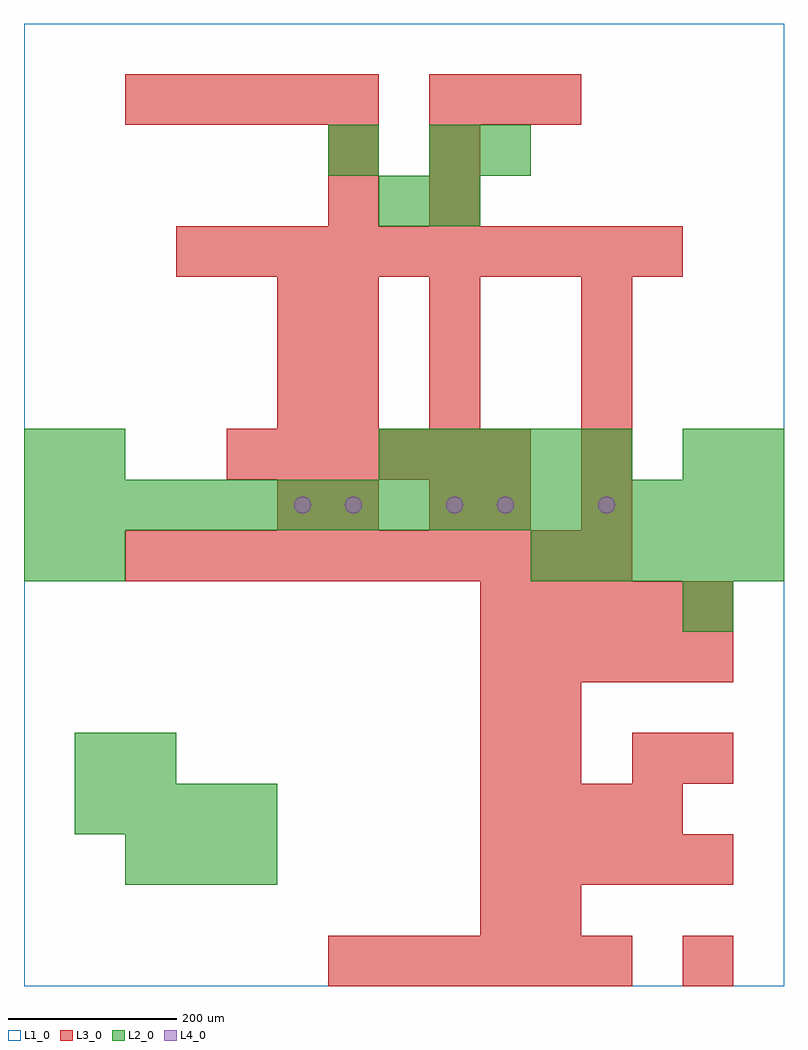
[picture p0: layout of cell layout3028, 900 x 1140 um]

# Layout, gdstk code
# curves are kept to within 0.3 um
import gdstk
lib = gdstk.Library(unit=1e-6, precision=1e-09)
def R(c, l, rs):  # rectangles x0, y0, x1, y1
    for r in rs: c.add(gdstk.rectangle(r[:2], r[2:], *l))
def A(c, l, x, y, w, h, nx, ny, dx, dy):  # array of equal rectangles
    R(c, l, [(x+i*dx, y+j*dy, x+i*dx+w, y+j*dy+h) for i in range(nx) for j in range(ny)])
def P(c, l, *ps):  # polygons
    for p in ps: c.add(gdstk.Polygon(p, *l))
L1_0 = (1, 0)
L2_0 = (2, 0)
L3_0 = (3, 0)
L4_0 = (4, 0)

layout3028 = lib.new_cell('layout3028')
R(layout3028, L1_0, [(0,0,900,1140)])
A(layout3028, L2_0, 120, 120, 60, 60, 3, 1, 60, 0)
A(layout3028, L2_0, 60, 180, 60, 60, 4, 1, 60, 0)
A(layout3028, L2_0, 600, 480, 60, 60, 5, 1, 60, 0)
A(layout3028, L2_0, 0, 540, 60, 60, 15, 1, 60, 0)
A(layout3028, L2_0, 420, 600, 60, 60, 5, 1, 60, 0)
R(layout3028, L2_0, [(60,240,120,300), (120,240,180,300), (780,420,840,480), (0,480,60,540), (60,480,120,540), (0,600,60,660), (60,600,120,660), (780,600,840,660), (840,600,900,660), (420,900,480,960), (480,900,540,960), (360,960,420,1020), (480,960,540,1020), (540,960,600,1020)])
A(layout3028, L3_0, 360, 0, 60, 60, 6, 1, 60, 0)
A(layout3028, L3_0, 540, 120, 60, 60, 5, 2, 60, 240)
A(layout3028, L3_0, 540, 180, 60, 60, 4, 1, 60, 0)
A(layout3028, L3_0, 540, 420, 60, 60, 5, 1, 60, 0)
A(layout3028, L3_0, 120, 480, 60, 60, 10, 1, 60, 0)
A(layout3028, L3_0, 660, 540, 60, 60, 1, 5, 0, 60)
A(layout3028, L3_0, 240, 600, 60, 60, 6, 1, 60, 0)
A(layout3028, L3_0, 300, 660, 60, 60, 1, 3, 0, 60)
A(layout3028, L3_0, 360, 660, 60, 60, 1, 3, 0, 60)
A(layout3028, L3_0, 480, 660, 60, 60, 1, 3, 0, 60)
A(layout3028, L3_0, 180, 840, 60, 60, 10, 1, 60, 0)
A(layout3028, L3_0, 120, 1020, 60, 60, 5, 1, 60, 0)
A(layout3028, L3_0, 480, 1020, 60, 60, 3, 1, 60, 0)
R(layout3028, L3_0, [(780,0,840,60), (540,60,600,120), (600,60,660,120), (540,240,600,300), (600,240,660,300), (720,240,780,300), (780,240,840,300), (540,300,600,360), (600,300,660,360), (300,540,360,600), (360,540,420,600), (480,540,540,600), (540,540,600,600), (360,900,420,960), (480,900,540,960), (360,960,420,1020), (480,960,540,1020)])
P(layout3028, L4_0, [(340,570),(339.239,573.827),(337.071,577.071),(333.827,579.239),(330,580),(326.173,579.239),(322.929,577.071),(320.761,573.827),(320,570),(320.761,566.173),(322.929,562.929),(326.173,560.761),(330,560),(333.827,560.761),(337.071,562.929),(339.239,566.173)],
  [(400,570),(399.239,573.827),(397.071,577.071),(393.827,579.239),(390,580),(386.173,579.239),(382.929,577.071),(380.761,573.827),(380,570),(380.761,566.173),(382.929,562.929),(386.173,560.761),(390,560),(393.827,560.761),(397.071,562.929),(399.239,566.173)],
  [(520,570),(519.239,573.827),(517.071,577.071),(513.827,579.239),(510,580),(506.173,579.239),(502.929,577.071),(500.761,573.827),(500,570),(500.761,566.173),(502.929,562.929),(506.173,560.761),(510,560),(513.827,560.761),(517.071,562.929),(519.239,566.173)],
  [(580,570),(579.239,573.827),(577.071,577.071),(573.827,579.239),(570,580),(566.173,579.239),(562.929,577.071),(560.761,573.827),(560,570),(560.761,566.173),(562.929,562.929),(566.173,560.761),(570,560),(573.827,560.761),(577.071,562.929),(579.239,566.173)],
  [(700,570),(699.239,573.827),(697.071,577.071),(693.827,579.239),(690,580),(686.173,579.239),(682.929,577.071),(680.761,573.827),(680,570),(680.761,566.173),(682.929,562.929),(686.173,560.761),(690,560),(693.827,560.761),(697.071,562.929),(699.239,566.173)])

lib.write_gds('layout3028.gds')
